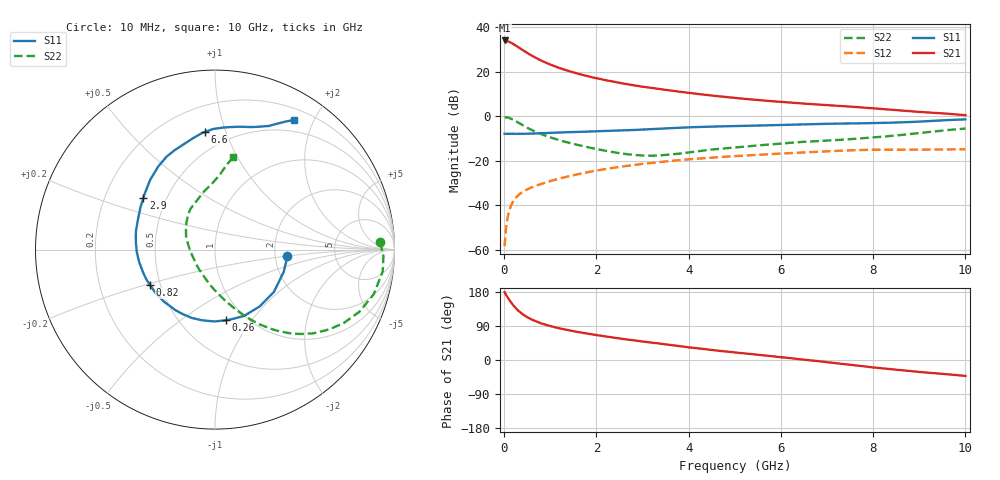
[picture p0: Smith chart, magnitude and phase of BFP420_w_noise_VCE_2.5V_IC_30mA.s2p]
! Infineon Technologies  Discrete & RF Semiconductors
! BFP420
! VCE =  2.5 V,  IC =  30 mA
! Common Emitter S-Parameters:  Jan 2016
# GHz  S  MA  R  50
!  f  S11  S21  S12  S22
! GHz  MAG  ANG  MAG  ANG  MAG  ANG  MAG  ANG
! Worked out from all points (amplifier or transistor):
!   233 points, 10 MHz to 10 GHz, reference 50 ohm
!   highest |S21| = 34.0 dB at 10 MHz (marker M1)
!   |S21| within 3 dB of that: start of sweep to 304.6 MHz
!   unconditionally stable (mu >= 1): 1.535 GHz to end of sweep
!   at 200 MHz: K = 0.30, MSG = 35.3 dB, |S12| = -38.1 dB
!   at 1.74 GHz: K = 1.04, MAG = 20.7 dB, |S12| = -25.5 dB
!   at 10 GHz: K = 1.06, MAG = 6.2 dB, |S12| = -14.9 dB
!   lowest NFmin = 1.51 dB at 900 MHz
!   S11 on the Smith chart (normalised r, x): 10 MHz: 2.33, -0.19; 260 MHz: 0.81, -0.76; 820 MHz: 0.44, -0.21; 2.9 GHz: 0.37, +0.28; 6.6 GHz: 0.37, +0.85; 10 GHz: 0.34, +1.73
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0.01  0.4028 -4.8  49.95 179.2  0.0012 110.4  0.9203 2.5
0.02  0.4036 -7.2  48.93 176.0  0.0017 98.7  0.9391 -2.2
0.05  0.4024 -18.0  48.44 170.1  0.0037 85.7  0.9425 -7.4
0.09  0.4008 -32.2  47.18 162.5  0.0062 79.7  0.9219 -14.0
0.15  0.4028 -51.9  44.48 151.8  0.0098 74.4  0.8761 -23.3
0.2  0.4036 -66.2  41.6 144.0  0.0124 70.0  0.8251 -29.8
0.26  0.3985 -81.5  37.86 135.9  0.015 66.2  0.7604 -36.4
0.36  0.4003 -102.1  32.38 124.7  0.0186 62.2  0.6599 -45.4
0.42  0.4011 -111.8  29.48 119.3  0.0204 60.6  0.6075 -49.5
0.5  0.403 -122.8  26.1 113.0  0.0226 59.2  0.5466 -54.3
0.6  0.4057 -133.9  22.68 106.6  0.0251 58.2  0.4849 -59.2
0.82  0.4126 -151.3  17.33 96.2  0.0303 57.6  0.3882 -67.3
1.2  0.4284 -171.0  12.01 83.5  0.0395 57.3  0.2871 -79.0
1.68  0.4447 172.8  8.516 72.1  0.0516 55.6  0.2148 -93.2
2.2  0.4603 159.2  6.398 62.1  0.0649 52.3  0.166 -110.5
2.9  0.4927 144.0  4.751 50.4  0.082 46.6  0.1323 -141.9
3.4  0.5235 134.6  3.997 42.8  0.0937 41.8  0.1316 -167.0
5.1  0.5996 111.2  2.499 18.8  0.1281 25.8  0.2016 143.2
6.6  0.658 95.0  1.878 -0.4  0.1547 11.9  0.2679 119.5
6.8  0.6645 92.9  1.82 -3.0  0.1583 9.9  0.2743 116.5
8.4  0.7118 73.6  1.386 -24.6  0.1761 -8.1  0.3589 94.2
10  0.8453 58.7  1.049 -41.9  0.1798 -20.5  0.5247 78.9
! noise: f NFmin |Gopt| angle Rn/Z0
0.9  1.51  0.26  -155  0.13
1.8  1.78  0.33  -142  0.14
2.4  1.96  0.3  -136  0.18
3  1.98  0.38  -127  0.2
4  2.11  0.47  -111  0.31
5  2.57  0.53  -94  0.51
6  3  0.57  -82  0.74
